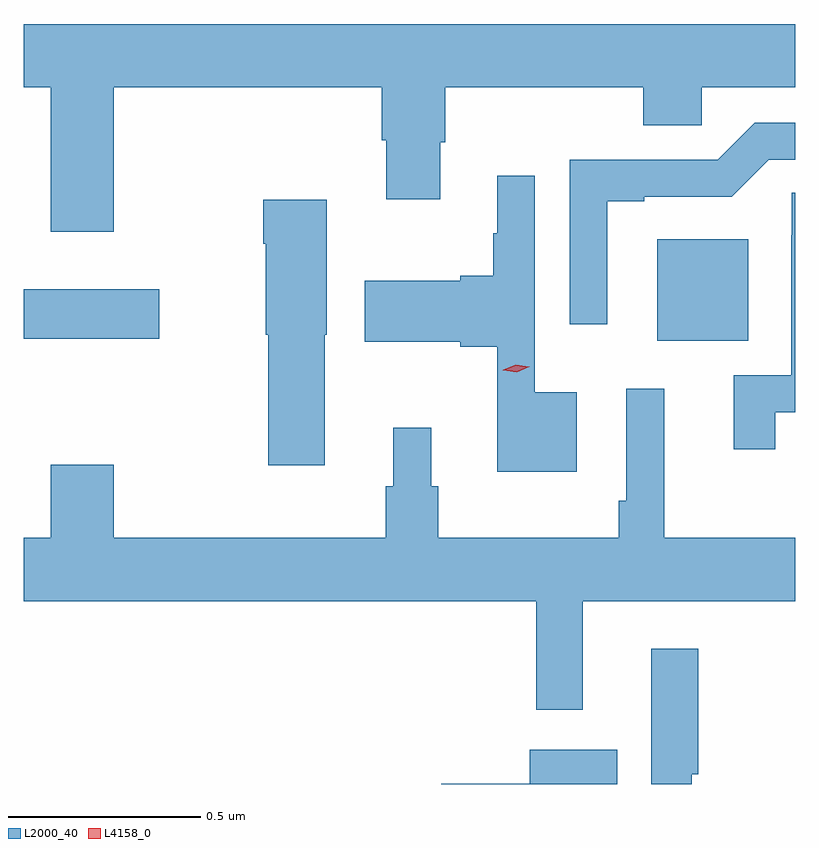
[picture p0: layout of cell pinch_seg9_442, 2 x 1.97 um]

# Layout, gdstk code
import gdstk
lib = gdstk.Library(unit=1e-6, precision=1e-09)
def R(c, l, rs):  # rectangles x0, y0, x1, y1
    for r in rs: c.add(gdstk.rectangle(r[:2], r[2:], *l))
def P(c, l, *ps):  # polygons
    for p in ps: c.add(gdstk.Polygon(p, *l))
L2000_40 = (2000, 40)
L4158_0 = (4158, 0)

pinch_seg9_442 = lib.new_cell('pinch_seg9_442')
R(pinch_seg9_442, L2000_40, [(226.52,1225.067,226.756,1225.33), (224.878,1225.072,225.229,1225.201)])
P(pinch_seg9_442, L2000_40, [(225.112,1225.724),(225.806,1225.724),(225.806,1225.587),(225.818,1225.587),(225.818,1225.434),(225.958,1225.434),(225.958,1225.582),(225.971,1225.582),(225.971,1225.724),(226.484,1225.724),(226.484,1225.626),(226.635,1225.626),(226.635,1225.724),(226.878,1225.724),(226.878,1225.888),(224.878,1225.888),(224.878,1225.724),(224.948,1225.724),(224.948,1225.35),(225.112,1225.35)],
  [(226.39,1225.428),(226.486,1225.428),(226.486,1225.44),(226.713,1225.44),(226.809,1225.536),(226.878,1225.536),(226.878,1225.632),(226.773,1225.632),(226.677,1225.536),(226.293,1225.536),(226.293,1225.11),(226.39,1225.11)],
  [(226.312,1224.934),(226.203,1224.934),(226.203,1225.495),(226.106,1225.495),(226.106,1225.346),(226.095,1225.346),(226.095,1225.235),(226.01,1225.235),(226.01,1225.222),(225.762,1225.222),(225.762,1225.064),(226.01,1225.064),(226.01,1225.052),(226.106,1225.052),(226.106,1224.728),(226.312,1224.728)],
  [(226.826,1224.882),(226.878,1224.882),(226.878,1225.451),(226.869,1225.451),(226.869,1225.34),(226.868,1225.34),(226.868,1224.978),(226.718,1224.978),(226.718,1224.786),(226.826,1224.786)],
  [(225.658,1225.083),(225.664,1225.083),(225.664,1225.432),(225.499,1225.432),(225.499,1225.319),(225.506,1225.319),(225.506,1225.083),(225.512,1225.083),(225.512,1224.744),(225.658,1224.744)],
  [(226.327,1224.392),(226.878,1224.392),(226.878,1224.556),(226.538,1224.556),(226.538,1224.943),(226.44,1224.943),(226.44,1224.652),(226.42,1224.652),(226.42,1224.556),(225.953,1224.556),(225.953,1224.69),(225.934,1224.69),(225.934,1224.841),(225.836,1224.841),(225.836,1224.69),(225.817,1224.69),(225.817,1224.556),(225.112,1224.556),(225.112,1224.745),(224.948,1224.745),(224.948,1224.556),(224.878,1224.556),(224.878,1224.392),(226.206,1224.392),(226.206,1224.111),(226.327,1224.111)],
  [(226.609,1223.943),(226.627,1223.943),(226.627,1224.268),(226.505,1224.268),(226.505,1223.918),(226.609,1223.918)],
  [(226.417,1224.007),(226.19,1224.007),(226.19,1223.919),(225.96,1223.919),(225.96,1223.918),(226.417,1223.918)])
P(pinch_seg9_442, L4158_0, [(226.156,1224.985),(226.121,1224.991),(226.12,1224.991),(226.121,1224.992),(226.154,1225.005),(226.189,1224.999),(226.19,1224.999),(226.189,1224.999)])

lib.write_gds('pinch_seg9_442.gds')
